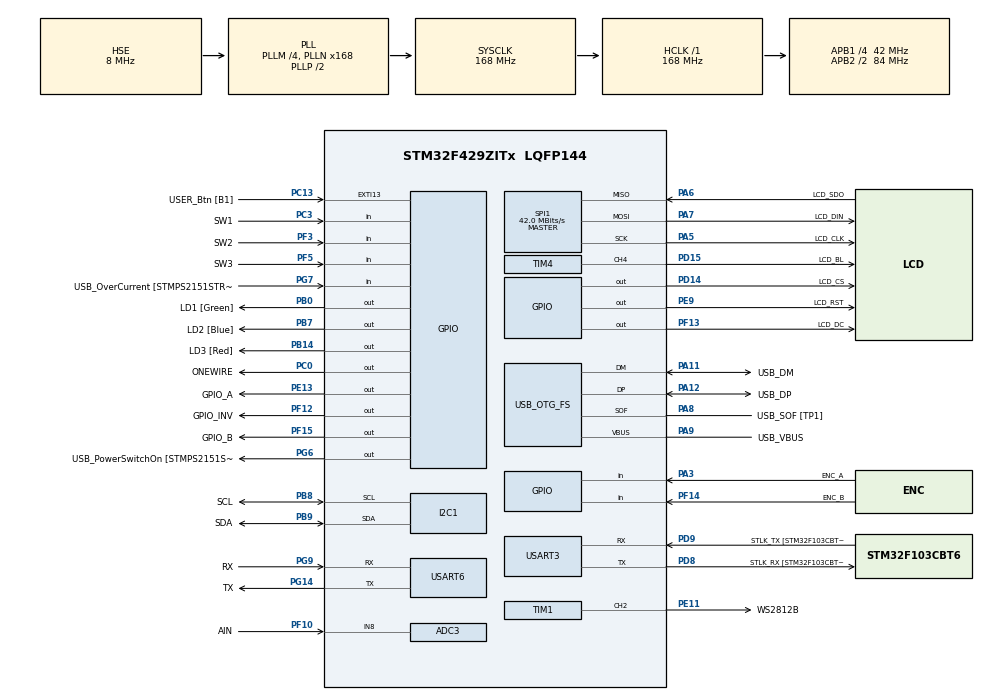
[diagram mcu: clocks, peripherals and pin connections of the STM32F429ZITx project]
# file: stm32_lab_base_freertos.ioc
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ADC3.Channel-0\#ChannelRegularConversion=ADC_CHANNEL_8
ADC3.ClockPrescaler=ADC_CLOCK_SYNC_PCLK_DIV8
ADC3.ContinuousConvMode=ENABLE
ADC3.DMAContinuousRequests=ENABLE
ADC3.DiscontinuousConvMode=DISABLE
ADC3.EOCSelection=ADC_EOC_SINGLE_CONV
ADC3.InjNumberOfConversion=0
ADC3.NbrOfConversion=1
ADC3.NbrOfConversionFlag=1
ADC3.Rank-0\#ChannelRegularConversion=1
ADC3.SamplingTime-0\#ChannelRegularConversion=ADC_SAMPLETIME_3CYCLES
ADC3.ScanConvMode=ENABLE
Dma.ADC3.1.Direction=DMA_PERIPH_TO_MEMORY
Dma.ADC3.1.FIFOMode=DMA_FIFOMODE_DISABLE
Dma.ADC3.1.Instance=DMA2_Stream0
Dma.ADC3.1.MemDataAlignment=DMA_MDATAALIGN_HALFWORD
Dma.ADC3.1.MemInc=DMA_MINC_ENABLE
Dma.ADC3.1.Mode=DMA_NORMAL
Dma.ADC3.1.PeriphDataAlignment=DMA_PDATAALIGN_HALFWORD
Dma.ADC3.1.PeriphInc=DMA_PINC_DISABLE
Dma.ADC3.1.Priority=DMA_PRIORITY_LOW
Dma.Request0=SPI1_TX
Dma.Request1=ADC3
Dma.Request2=TIM1_CH2
Dma.SPI1_TX.0.Direction=DMA_MEMORY_TO_PERIPH
Dma.SPI1_TX.0.FIFOMode=DMA_FIFOMODE_DISABLE
Dma.SPI1_TX.0.Instance=DMA2_Stream3
Dma.SPI1_TX.0.MemDataAlignment=DMA_MDATAALIGN_BYTE
Dma.SPI1_TX.0.MemInc=DMA_MINC_ENABLE
Dma.SPI1_TX.0.Mode=DMA_NORMAL
Dma.SPI1_TX.0.PeriphDataAlignment=DMA_PDATAALIGN_BYTE
Dma.SPI1_TX.0.PeriphInc=DMA_PINC_DISABLE
Dma.SPI1_TX.0.Priority=DMA_PRIORITY_LOW
Dma.TIM1_CH2.2.Direction=DMA_MEMORY_TO_PERIPH
Dma.TIM1_CH2.2.FIFOMode=DMA_FIFOMODE_DISABLE
Dma.TIM1_CH2.2.Instance=DMA2_Stream2
Dma.TIM1_CH2.2.MemDataAlignment=DMA_MDATAALIGN_HALFWORD
Dma.TIM1_CH2.2.MemInc=DMA_MINC_ENABLE
Dma.TIM1_CH2.2.Mode=DMA_NORMAL
Dma.TIM1_CH2.2.PeriphDataAlignment=DMA_PDATAALIGN_HALFWORD
Dma.TIM1_CH2.2.PeriphInc=DMA_PINC_DISABLE
Dma.TIM1_CH2.2.Priority=DMA_PRIORITY_LOW
FREERTOS.INCLUDE_pcTaskGetTaskName=1
FREERTOS.INCLUDE_uxTaskGetStackHighWaterMark2=1
FREERTOS.INCLUDE_xTaskGetHandle=1
FREERTOS.Tasks01=defaultTask,24,1024,StartDefaultTask,Default,NULL,Dynamic,NULL,NULL
FREERTOS.configENABLE_FPU=1
FREERTOS.configTOTAL_HEAP_SIZE=65536
FREERTOS.configUSE_IDLE_HOOK=1
FREERTOS.configUSE_NEWLIB_REENTRANT=1
FREERTOS.configUSE_TICK_HOOK=1
Mcu.Family=STM32F4
Mcu.Name=STM32F429ZITx
Mcu.Package=LQFP144
NVIC.ADC_IRQn=true\:5\:0\:false\:false\:true\:true\:true\:true\:true
NVIC.DMA2_Stream0_IRQn=true\:5\:0\:false\:false\:true\:true\:false\:true\:true
NVIC.DMA2_Stream2_IRQn=true\:5\:0\:false\:false\:true\:true\:false\:true\:true
NVIC.DMA2_Stream3_IRQn=true\:5\:0\:false\:false\:true\:true\:false\:true\:true
NVIC.OTG_FS_IRQn=true\:5\:0\:false\:false\:true\:true\:false\:true\:true
NVIC.PriorityGroup=NVIC_PRIORITYGROUP_4
NVIC.TIM6_DAC_IRQn=true\:15\:0\:false\:false\:true\:false\:false\:true\:true
NVIC.TimeBase=TIM6_DAC_IRQn
NVIC.TimeBaseIP=TIM6
PA1.GPIO_Label=RMII_REF_CLK [LAN8742A-CZ-TR_REFCLK0]
PA1.Signal=ETH_REF_CLK
PA10.GPIO_Label=USB_ID
PA10.Signal=USB_OTG_FS_ID
PA11.GPIO_Label=USB_DM
PA11.Mode=Device_Only
PA11.Signal=USB_OTG_FS_DM
PA12.GPIO_Label=USB_DP
PA12.Mode=Device_Only
PA12.Signal=USB_OTG_FS_DP
PA13.GPIO_Label=TMS
PA13.Mode=Serial_Wire
PA13.Signal=SYS_JTMS-SWDIO
PA14.GPIO_Label=TCK
PA14.Mode=Serial_Wire
PA14.Signal=SYS_JTCK-SWCLK
PA2.GPIO_Label=RMII_MDIO [LAN8742A-CZ-TR_MDIO]
PA2.Signal=ETH_MDIO
PA3.GPIO_Label=ENC_A
PA3.Signal=GPIO_Input
PA5.GPIO_Label=LCD_CLK
PA5.Mode=Full_Duplex_Master
PA5.Signal=SPI1_SCK
PA6.GPIO_Label=LCD_SDO
PA6.Mode=Full_Duplex_Master
PA6.Signal=SPI1_MISO
PA7.GPIO_Label=LCD_DIN
PA7.Mode=Full_Duplex_Master
PA7.Signal=SPI1_MOSI
PA8.GPIO_Label=USB_SOF [TP1]
PA8.Mode=Activate_SOF_FS
PA8.Signal=USB_OTG_FS_SOF
PA9.GPIO_Label=USB_VBUS
PA9.Mode=Activate_VBUS
PA9.Signal=USB_OTG_FS_VBUS
PB0.GPIO_Label=LD1 [Green]
PB0.Signal=GPIO_Output
PB13.GPIO_Label=RMII_TXD1 [LAN8742A-CZ-TR_TXD1]
PB13.Signal=ETH_TXD1
PB14.GPIO_Label=LD3 [Red]
PB14.Signal=GPIO_Output
PB7.GPIO_Label=LD2 [Blue]
PB7.Signal=GPIO_Output
PB8.GPIO_Label=SCL
PB8.Mode=I2C
PB8.Signal=I2C1_SCL
PB9.GPIO_Label=SDA
PB9.Mode=I2C
PB9.Signal=I2C1_SDA
PC0.GPIO_Label=ONEWIRE
PC0.Signal=GPIO_Output
PC1.GPIO_Label=RMII_MDC [LAN8742A-CZ-TR_MDC]
PC1.Signal=ETH_MDC
PC13.GPIO_Label=USER_Btn [B1]
PC13.Signal=GPXTI13
PC14/OSC32_IN.Mode=LSE-External-Oscillator
PC14/OSC32_IN.Signal=RCC_OSC32_IN
PC15/OSC32_OUT.Mode=LSE-External-Oscillator
PC15/OSC32_OUT.Signal=RCC_OSC32_OUT
PC3.GPIO_Label=SW1
PC3.Signal=GPIO_Input
PC4.GPIO_Label=RMII_RXD0 [LAN8742A-CZ-TR_RXD0]
PC4.Signal=ETH_RXD0
PC5.GPIO_Label=RMII_RXD1 [LAN8742A-CZ-TR_RXD1]
PC5.Signal=ETH_RXD1
PD14.GPIO_Label=LCD_CS
PD14.Signal=GPIO_Output
PD15.GPIO_Label=LCD_BL
PD15.Signal=S_TIM4_CH4
PD8.GPIO_Label=STLK_RX [STM32F103CBT6_PA3]
PD8.Mode=Asynchronous
PD8.Signal=USART3_TX
PD9.GPIO_Label=STLK_TX [STM32F103CBT6_PA2]
PD9.Mode=Asynchronous
PD9.Signal=USART3_RX
PE11.GPIO_Label=WS2812B
PE11.Signal=S_TIM1_CH2
PE13.GPIO_Label=GPIO_A
PE13.Signal=GPIO_Output
PE9.GPIO_Label=LCD_RST
PE9.Signal=GPIO_Output
PF10.GPIO_Label=AIN
PF10.Mode=IN8
PF10.Signal=ADC3_IN8
PF12.GPIO_Label=GPIO_INV
PF12.Signal=GPIO_Output
PF13.GPIO_Label=LCD_DC
PF13.Signal=GPIO_Output
PF14.GPIO_Label=ENC_B
PF14.Signal=GPIO_Input
PF15.GPIO_Label=GPIO_B
PF15.Signal=GPIO_Output
PF3.GPIO_Label=SW2
PF3.Signal=GPIO_Input
PF5.GPIO_Label=SW3
PF5.Signal=GPIO_Input
PG11.GPIO_Label=RMII_TX_EN [LAN8742A-CZ-TR_TXEN]
PG11.Signal=ETH_TX_EN
PG13.GPIO_Label=RMII_TXD0 [LAN8742A-CZ-TR_TXD0]
PG13.Signal=ETH_TXD0
PG14.GPIO_Label=TX
PG14.Mode=Asynchronous
PG14.Signal=USART6_TX
PG6.GPIO_Label=USB_PowerSwitchOn [STMPS2151STR_EN]
PG6.Signal=GPIO_Output
PG7.GPIO_Label=USB_OverCurrent [STMPS2151STR_FAULT]
PG7.Signal=GPIO_Input
PG9.GPIO_Label=RX
PG9.Mode=Asynchronous
PG9.Signal=USART6_RX
PH0/OSC_IN.GPIO_Label=MCO [STM32F103CBT6_PA8]
PH0/OSC_IN.Mode=HSE-External-Clock-Source
PH0/OSC_IN.Signal=RCC_OSC_IN
PH1/OSC_OUT.Mode=HSE-External-Clock-Source
PH1/OSC_OUT.Signal=RCC_OSC_OUT
ProjectManager.HeapSize=0x200
ProjectManager.StackSize=0x400
ProjectManager.TargetToolchain=STM32CubeIDE
RCC.48MHZClocksFreq_Value=48000000
RCC.AHBFreq_Value=168000000
RCC.APB1CLKDivider=RCC_HCLK_DIV4
RCC.APB1Freq_Value=42000000
RCC.APB1TimFreq_Value=84000000
RCC.APB2CLKDivider=RCC_HCLK_DIV2
RCC.APB2Freq_Value=84000000
RCC.APB2TimCLKDivider=2
RCC.APB2TimFreq_Value=168000000
RCC.CortexFreq_Value=168000000
RCC.HCLKFreq_Value=168000000
RCC.HSE_VALUE=8000000
RCC.HSI_VALUE=16000000
RCC.PLLM=4
RCC.PLLMUL=RCC_PLL_MUL9
RCC.PLLN=168
RCC.PLLQ=7
RCC.PRESCALERUSB=RCC_USBCLKSOURCE_PLL_DIV1_5
RCC.SYSCLKFreq_VALUE=168000000
RCC.SYSCLKSource=RCC_SYSCLKSOURCE_PLLCLK
RCC.SYSCLKSourceVirtual=RCC_SYSCLKSOURCE_PLLCLK
RCC.USBFreq_Value=48000000
RCC.VCOOutputFreq_Value=336000000
SH.S_TIM1_CH2.0=TIM1_CH2,PWM Generation2 CH2
SH.S_TIM4_CH4.0=TIM4_CH4,PWM Generation4 CH4
SPI1.CalculateBaudRate=42.0 MBits/s
SPI1.Direction=SPI_DIRECTION_2LINES
SPI1.Mode=SPI_MODE_MASTER
SPI1.VirtualType=VM_MASTER
TIM1.Channel-PWM\ Generation2\ CH2=TIM_CHANNEL_2
TIM1.ClockDivision=TIM_CLOCKDIVISION_DIV2
TIM1.Period=209
TIM1.Pulse-PWM\ Generation2\ CH2=50
TIM4.Channel-PWM\ Generation4\ CH4=TIM_CHANNEL_4
TIM4.Period=0xFF
TIM4.Prescaler=10
TIM4.Pulse-PWM\ Generation4\ CH4=0xF0
USART3.VirtualMode=VM_ASYNC
USART6.VirtualMode=VM_ASYNC
USB_DEVICE.CLASS_NAME_FS=CDC
USB_DEVICE.MANUFACTURER_STRING-CDC_FS=Wydzial Informatyki AGH
USB_DEVICE.PRODUCT_STRING_CDC_FS=Mikroprocki Virtual ComPort
USB_DEVICE.USBD_DEBUG_LEVEL-CDC_FS=3
USB_DEVICE.VirtualMode-CDC_FS=Cdc
USB_DEVICE.VirtualModeFS=Cdc_FS
USB_OTG_FS.VirtualMode=Device_Only
VP_FREERTOS_VS_CMSIS_V2.Mode=CMSIS_V2
VP_RNG_VS_RNG.Mode=RNG_Activate
VP_SYS_VS_tim6.Mode=TIM6
VP_TIM1_VS_ClockSourceINT.Mode=Internal
VP_USB_DEVICE_VS_USB_DEVICE_CDC_FS.Mode=CDC_FS
board=NUCLEO-F429ZI

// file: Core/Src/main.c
/* USER CODE BEGIN Header */
/**
  ******************************************************************************
  * @file           : main.c
  * @brief          : Main program body
  ******************************************************************************
  * @attention
  *
  * Copyright (c) 2025 STMicroelectronics.
  * All rights reserved.
  *
  * This software is licensed under terms that can be found in the LICENSE file
  * in the root directory of this software component.
  * If no LICENSE file comes with this software, it is provided AS-IS.
  *
  ******************************************************************************
  */
/* USER CODE END Header */
#include "main.h"
#include "cmsis_os.h"
#include "usb_device.h"

/* USER CODE BEGIN Includes */
#include "FreeRTOS.h"
#include "task.h"
#include "dbgu.h"
#include "usbd_cdc_if.h"
#include "probe.h"
/* USER CODE END Includes */

ADC_HandleTypeDef hadc3;
DMA_HandleTypeDef hdma_adc3;

I2C_HandleTypeDef hi2c1;

RNG_HandleTypeDef hrng;

SPI_HandleTypeDef hspi1;
DMA_HandleTypeDef hdma_spi1_tx;

TIM_HandleTypeDef htim1;
TIM_HandleTypeDef htim4;
DMA_HandleTypeDef hdma_tim1_ch2;

UART_HandleTypeDef huart3;
UART_HandleTypeDef huart6;

/* Definitions for defaultTask */
osThreadId_t defaultTaskHandle;
const osThreadAttr_t defaultTask_attributes = {
  .name = "defaultTask",
  .stack_size = 1024 * 4,
  .priority = (osPriority_t) osPriorityNormal,
};

void SystemClock_Config(void);
static void MX_GPIO_Init(void);
static void MX_DMA_Init(void);
static void MX_TIM1_Init(void);
static void MX_USART3_UART_Init(void);
static void MX_SPI1_Init(void);
static void MX_ADC3_Init(void);
static void MX_USART6_UART_Init(void);
static void MX_I2C1_Init(void);
static void MX_TIM4_Init(void);
static void MX_RNG_Init(void);
void StartDefaultTask(void *argument);

/* USER CODE BEGIN 0 */
extern USBD_HandleTypeDef hUsbDeviceFS;
/* USER CODE END 0 */

int main(void)
{

  /* MCU Configuration--------------------------------------------------------*/

  /* Reset of all peripherals, Initializes the Flash interface and the Systick. */
  HAL_Init();

  /* Configure the system clock */
  SystemClock_Config();

  /* Initialize all configured peripherals */
  MX_GPIO_Init();
  MX_DMA_Init();
  MX_TIM1_Init();
  MX_USART3_UART_Init();
  MX_SPI1_Init();
  MX_ADC3_Init();
  MX_USART6_UART_Init();
  MX_I2C1_Init();
  MX_TIM4_Init();
  MX_RNG_Init();
  /* USER CODE BEGIN 2 */
  debug_init(&huart3);
  printf("It works!\n");
  xprintf("xprintf works too!\n");
  //xprintf("initializing ws leds...\n");
  //ws2812b_init(&htim1,&hdma_tim1_ch2,TIM_CHANNEL_2,8);
  //ws2812b_init(&htim1,&hdma_tim1_ch2,TIM_CHANNEL_2,8);
  /* USER CODE END 2 */

  /* Init scheduler */
  osKernelInitialize();

  /* Create the thread(s) */
  /* creation of defaultTask */
  defaultTaskHandle = osThreadNew(StartDefaultTask, NULL, &defaultTask_attributes);

  /* Start scheduler */
  osKernelStart();

  /* We should never get here as control is now taken by the scheduler */

  /* Infinite loop */
  while (1)
  {

  }
}

void SystemClock_Config(void)
{
  RCC_OscInitTypeDef RCC_OscInitStruct = {0};
  RCC_ClkInitTypeDef RCC_ClkInitStruct = {0};

  /** Configure the main internal regulator output voltage
  */
  __HAL_RCC_PWR_CLK_ENABLE();
  __HAL_PWR_VOLTAGESCALING_CONFIG(PWR_REGULATOR_VOLTAGE_SCALE1);

  /** Initializes the RCC Oscillators according to the specified parameters
  * in the RCC_OscInitTypeDef structure.
  */
  RCC_OscInitStruct.OscillatorType = RCC_OSCILLATORTYPE_HSE;
  RCC_OscInitStruct.HSEState = RCC_HSE_BYPASS;
  RCC_OscInitStruct.PLL.PLLState = RCC_PLL_ON;
  RCC_OscInitStruct.PLL.PLLSource = RCC_PLLSOURCE_HSE;
  RCC_OscInitStruct.PLL.PLLM = 4;
  RCC_OscInitStruct.PLL.PLLN = 168;
  RCC_OscInitStruct.PLL.PLLP = RCC_PLLP_DIV2;
  RCC_OscInitStruct.PLL.PLLQ = 7;
  if (HAL_RCC_OscConfig(&RCC_OscInitStruct) != HAL_OK)
  {
    Error_Handler();
  }

  /** Initializes the CPU, AHB and APB buses clocks
  */
  RCC_ClkInitStruct.ClockType = RCC_CLOCKTYPE_HCLK|RCC_CLOCKTYPE_SYSCLK
                              |RCC_CLOCKTYPE_PCLK1|RCC_CLOCKTYPE_PCLK2;
  RCC_ClkInitStruct.SYSCLKSource = RCC_SYSCLKSOURCE_PLLCLK;
  RCC_ClkInitStruct.AHBCLKDivider = RCC_SYSCLK_DIV1;
  RCC_ClkInitStruct.APB1CLKDivider = RCC_HCLK_DIV4;
  RCC_ClkInitStruct.APB2CLKDivider = RCC_HCLK_DIV2;

  if (HAL_RCC_ClockConfig(&RCC_ClkInitStruct, FLASH_LATENCY_5) != HAL_OK)
  {
    Error_Handler();
  }
}

static void MX_ADC3_Init(void)
{

  ADC_ChannelConfTypeDef sConfig = {0};

  /** Configure the global features of the ADC (Clock, Resolution, Data Alignment and number of conversion)
  */
  hadc3.Instance = ADC3;
  hadc3.Init.ClockPrescaler = ADC_CLOCK_SYNC_PCLK_DIV8;
  hadc3.Init.Resolution = ADC_RESOLUTION_12B;
  hadc3.Init.ScanConvMode = ENABLE;
  hadc3.Init.ContinuousConvMode = ENABLE;
  hadc3.Init.DiscontinuousConvMode = DISABLE;
  hadc3.Init.ExternalTrigConvEdge = ADC_EXTERNALTRIGCONVEDGE_NONE;
  hadc3.Init.ExternalTrigConv = ADC_SOFTWARE_START;
  hadc3.Init.DataAlign = ADC_DATAALIGN_RIGHT;
  hadc3.Init.NbrOfConversion = 1;
  hadc3.Init.DMAContinuousRequests = ENABLE;
  hadc3.Init.EOCSelection = ADC_EOC_SINGLE_CONV;
  if (HAL_ADC_Init(&hadc3) != HAL_OK)
  {
    Error_Handler();
  }

  /** Configure for the selected ADC regular channel its corresponding rank in the sequencer and its sample time.
  */
  sConfig.Channel = ADC_CHANNEL_8;
  sConfig.Rank = 1;
  sConfig.SamplingTime = ADC_SAMPLETIME_3CYCLES;
  if (HAL_ADC_ConfigChannel(&hadc3, &sConfig) != HAL_OK)
  {
    Error_Handler();
  }

}

static void MX_I2C1_Init(void)
{

  hi2c1.Instance = I2C1;
  hi2c1.Init.ClockSpeed = 100000;
  hi2c1.Init.DutyCycle = I2C_DUTYCYCLE_2;
  hi2c1.Init.OwnAddress1 = 0;
  hi2c1.Init.AddressingMode = I2C_ADDRESSINGMODE_7BIT;
  hi2c1.Init.DualAddressMode = I2C_DUALADDRESS_DISABLE;
  hi2c1.Init.OwnAddress2 = 0;
  hi2c1.Init.GeneralCallMode = I2C_GENERALCALL_DISABLE;
  hi2c1.Init.NoStretchMode = I2C_NOSTRETCH_DISABLE;
  if (HAL_I2C_Init(&hi2c1) != HAL_OK)
  {
    Error_Handler();
  }

  /** Configure Analogue filter
  */
  if (HAL_I2CEx_ConfigAnalogFilter(&hi2c1, I2C_ANALOGFILTER_ENABLE) != HAL_OK)
  {
    Error_Handler();
  }

  /** Configure Digital filter
  */
  if (HAL_I2CEx_ConfigDigitalFilter(&hi2c1, 0) != HAL_OK)
  {
    Error_Handler();
  }

}

static void MX_RNG_Init(void)
{

  hrng.Instance = RNG;
  if (HAL_RNG_Init(&hrng) != HAL_OK)
  {
    Error_Handler();
  }

}

static void MX_SPI1_Init(void)
{

  /* SPI1 parameter configuration*/
  hspi1.Instance = SPI1;
  hspi1.Init.Mode = SPI_MODE_MASTER;
  hspi1.Init.Direction = SPI_DIRECTION_2LINES;
  hspi1.Init.DataSize = SPI_DATASIZE_8BIT;
  hspi1.Init.CLKPolarity = SPI_POLARITY_LOW;
  hspi1.Init.CLKPhase = SPI_PHASE_1EDGE;
  hspi1.Init.NSS = SPI_NSS_SOFT;
  hspi1.Init.BaudRatePrescaler = SPI_BAUDRATEPRESCALER_2;
  hspi1.Init.FirstBit = SPI_FIRSTBIT_MSB;
  hspi1.Init.TIMode = SPI_TIMODE_DISABLE;
  hspi1.Init.CRCCalculation = SPI_CRCCALCULATION_DISABLE;
  hspi1.Init.CRCPolynomial = 10;
  if (HAL_SPI_Init(&hspi1) != HAL_OK)
  {
    Error_Handler();
  }

}

static void MX_TIM1_Init(void)
{

  TIM_ClockConfigTypeDef sClockSourceConfig = {0};
  TIM_MasterConfigTypeDef sMasterConfig = {0};
  TIM_OC_InitTypeDef sConfigOC = {0};
  TIM_BreakDeadTimeConfigTypeDef sBreakDeadTimeConfig = {0};

  htim1.Instance = TIM1;
  htim1.Init.Prescaler = 0;
  htim1.Init.CounterMode = TIM_COUNTERMODE_UP;
  htim1.Init.Period = 209;
  htim1.Init.ClockDivision = TIM_CLOCKDIVISION_DIV2;
  htim1.Init.RepetitionCounter = 0;
  htim1.Init.AutoReloadPreload = TIM_AUTORELOAD_PRELOAD_DISABLE;
  if (HAL_TIM_Base_Init(&htim1) != HAL_OK)
  {
    Error_Handler();
  }
  sClockSourceConfig.ClockSource = TIM_CLOCKSOURCE_INTERNAL;
  if (HAL_TIM_ConfigClockSource(&htim1, &sClockSourceConfig) != HAL_OK)
  {
    Error_Handler();
  }
  if (HAL_TIM_PWM_Init(&htim1) != HAL_OK)
  {
    Error_Handler();
  }
  sMasterConfig.MasterOutputTrigger = TIM_TRGO_RESET;
  sMasterConfig.MasterSlaveMode = TIM_MASTERSLAVEMODE_DISABLE;
  if (HAL_TIMEx_MasterConfigSynchronization(&htim1, &sMasterConfig) != HAL_OK)
  {
    Error_Handler();
  }
  sConfigOC.OCMode = TIM_OCMODE_PWM1;
  sConfigOC.Pulse = 50;
  sConfigOC.OCPolarity = TIM_OCPOLARITY_HIGH;
  sConfigOC.OCNPolarity = TIM_OCNPOLARITY_HIGH;
  sConfigOC.OCFastMode = TIM_OCFAST_DISABLE;
  sConfigOC.OCIdleState = TIM_OCIDLESTATE_RESET;
  sConfigOC.OCNIdleState = TIM_OCNIDLESTATE_RESET;
  if (HAL_TIM_PWM_ConfigChannel(&htim1, &sConfigOC, TIM_CHANNEL_2) != HAL_OK)
  {
    Error_Handler();
  }
  sBreakDeadTimeConfig.OffStateRunMode = TIM_OSSR_DISABLE;
  sBreakDeadTimeConfig.OffStateIDLEMode = TIM_OSSI_DISABLE;
  sBreakDeadTimeConfig.LockLevel = TIM_LOCKLEVEL_OFF;
  sBreakDeadTimeConfig.DeadTime = 0;
  sBreakDeadTimeConfig.BreakState = TIM_BREAK_DISABLE;
  sBreakDeadTimeConfig.BreakPolarity = TIM_BREAKPOLARITY_HIGH;
  sBreakDeadTimeConfig.AutomaticOutput = TIM_AUTOMATICOUTPUT_DISABLE;
  if (HAL_TIMEx_ConfigBreakDeadTime(&htim1, &sBreakDeadTimeConfig) != HAL_OK)
  {
    Error_Handler();
  }
  HAL_TIM_MspPostInit(&htim1);

}

static void MX_TIM4_Init(void)
{

  TIM_MasterConfigTypeDef sMasterConfig = {0};
  TIM_OC_InitTypeDef sConfigOC = {0};

  htim4.Instance = TIM4;
  htim4.Init.Prescaler = 10;
  htim4.Init.CounterMode = TIM_COUNTERMODE_UP;
  htim4.Init.Period = 0xFF;
  htim4.Init.ClockDivision = TIM_CLOCKDIVISION_DIV1;
  htim4.Init.AutoReloadPreload = TIM_AUTORELOAD_PRELOAD_DISABLE;
  if (HAL_TIM_PWM_Init(&htim4) != HAL_OK)
  {
    Error_Handler();
  }
  sMasterConfig.MasterOutputTrigger = TIM_TRGO_RESET;
  sMasterConfig.MasterSlaveMode = TIM_MASTERSLAVEMODE_DISABLE;
  if (HAL_TIMEx_MasterConfigSynchronization(&htim4, &sMasterConfig) != HAL_OK)
  {
    Error_Handler();
  }
  sConfigOC.OCMode = TIM_OCMODE_PWM1;
  sConfigOC.Pulse = 0xF0;
  sConfigOC.OCPolarity = TIM_OCPOLARITY_HIGH;
  sConfigOC.OCFastMode = TIM_OCFAST_DISABLE;
  if (HAL_TIM_PWM_ConfigChannel(&htim4, &sConfigOC, TIM_CHANNEL_4) != HAL_OK)
  {
    Error_Handler();
  }
  HAL_TIM_MspPostInit(&htim4);

}

static void MX_USART3_UART_Init(void)
{

  huart3.Instance = USART3;
  huart3.Init.BaudRate = 115200;
  huart3.Init.WordLength = UART_WORDLENGTH_8B;
  huart3.Init.StopBits = UART_STOPBITS_1;
  huart3.Init.Parity = UART_PARITY_NONE;
  huart3.Init.Mode = UART_MODE_TX_RX;
  huart3.Init.HwFlowCtl = UART_HWCONTROL_NONE;
  huart3.Init.OverSampling = UART_OVERSAMPLING_16;
  if (HAL_UART_Init(&huart3) != HAL_OK)
  {
    Error_Handler();
  }

}

static void MX_USART6_UART_Init(void)
{

  huart6.Instance = USART6;
  huart6.Init.BaudRate = 115200;
  huart6.Init.WordLength = UART_WORDLENGTH_8B;
  huart6.Init.StopBits = UART_STOPBITS_1;
  huart6.Init.Parity = UART_PARITY_NONE;
  huart6.Init.Mode = UART_MODE_TX_RX;
  huart6.Init.HwFlowCtl = UART_HWCONTROL_NONE;
  huart6.Init.OverSampling = UART_OVERSAMPLING_16;
  if (HAL_UART_Init(&huart6) != HAL_OK)
  {
    Error_Handler();
  }

}

static void MX_DMA_Init(void)
{

  /* DMA controller clock enable */
  __HAL_RCC_DMA2_CLK_ENABLE();

  /* DMA interrupt init */
  /* DMA2_Stream0_IRQn interrupt configuration */
  HAL_NVIC_SetPriority(DMA2_Stream0_IRQn, 5, 0);
  HAL_NVIC_EnableIRQ(DMA2_Stream0_IRQn);
  /* DMA2_Stream2_IRQn interrupt configuration */
  HAL_NVIC_SetPriority(DMA2_Stream2_IRQn, 5, 0);
  HAL_NVIC_EnableIRQ(DMA2_Stream2_IRQn);
  /* DMA2_Stream3_IRQn interrupt configuration */
  HAL_NVIC_SetPriority(DMA2_Stream3_IRQn, 5, 0);
  HAL_NVIC_EnableIRQ(DMA2_Stream3_IRQn);

}

static void MX_GPIO_Init(void)
{
  GPIO_InitTypeDef GPIO_InitStruct = {0};

  /* GPIO Ports Clock Enable */
  __HAL_RCC_GPIOC_CLK_ENABLE();
  __HAL_RCC_GPIOF_CLK_ENABLE();
  __HAL_RCC_GPIOH_CLK_ENABLE();
  __HAL_RCC_GPIOA_CLK_ENABLE();
  __HAL_RCC_GPIOB_CLK_ENABLE();
  __HAL_RCC_GPIOE_CLK_ENABLE();
  __HAL_RCC_GPIOD_CLK_ENABLE();
  __HAL_RCC_GPIOG_CLK_ENABLE();

  /*Configure GPIO pin Output Level */
  HAL_GPIO_WritePin(ONEWIRE_GPIO_Port, ONEWIRE_Pin, GPIO_PIN_RESET);

  /*Configure GPIO pin Output Level */
  HAL_GPIO_WritePin(GPIOB, LD1_Pin|LD3_Pin|LD2_Pin, GPIO_PIN_RESET);

  /*Configure GPIO pin Output Level */
  HAL_GPIO_WritePin(GPIOF, GPIO_INV_Pin|LCD_DC_Pin|GPIO_B_Pin, GPIO_PIN_RESET);

  /*Configure GPIO pin Output Level */
  HAL_GPIO_WritePin(GPIOE, LCD_RST_Pin|GPIO_A_Pin, GPIO_PIN_RESET);

  /*Configure GPIO pin Output Level */
  HAL_GPIO_WritePin(LCD_CS_GPIO_Port, LCD_CS_Pin, GPIO_PIN_RESET);

  /*Configure GPIO pin Output Level */
  HAL_GPIO_WritePin(USB_PowerSwitchOn_GPIO_Port, USB_PowerSwitchOn_Pin, GPIO_PIN_RESET);

  /*Configure GPIO pin : USER_Btn_Pin */
  GPIO_InitStruct.Pin = USER_Btn_Pin;
  GPIO_InitStruct.Mode = GPIO_MODE_IT_RISING;
  GPIO_InitStruct.Pull = GPIO_NOPULL;
  HAL_GPIO_Init(USER_Btn_GPIO_Port, &GPIO_InitStruct);

  /*Configure GPIO pins : SW2_Pin SW3_Pin ENC_B_Pin */
  GPIO_InitStruct.Pin = SW2_Pin|SW3_Pin|ENC_B_Pin;
  GPIO_InitStruct.Mode = GPIO_MODE_INPUT;
  GPIO_InitStruct.Pull = GPIO_NOPULL;
  HAL_GPIO_Init(GPIOF, &GPIO_InitStruct);

  /*Configure GPIO pin : ONEWIRE_Pin */
  GPIO_InitStruct.Pin = ONEWIRE_Pin;
  GPIO_InitStruct.Mode = GPIO_MODE_OUTPUT_PP;
  GPIO_InitStruct.Pull = GPIO_NOPULL;
  GPIO_InitStruct.Speed = GPIO_SPEED_FREQ_LOW;
  HAL_GPIO_Init(ONEWIRE_GPIO_Port, &GPIO_InitStruct);

  /*Configure GPIO pins : RMII_MDC_Pin RMII_RXD0_Pin RMII_RXD1_Pin */
  GPIO_InitStruct.Pin = RMII_MDC_Pin|RMII_RXD0_Pin|RMII_RXD1_Pin;
  GPIO_InitStruct.Mode = GPIO_MODE_AF_PP;
  GPIO_InitStruct.Pull = GPIO_NOPULL;
  GPIO_InitStruct.Speed = GPIO_SPEED_FREQ_VERY_HIGH;
  GPIO_InitStruct.Alternate = GPIO_AF11_ETH;
  HAL_GPIO_Init(GPIOC, &GPIO_InitStruct);

  /*Configure GPIO pin : SW1_Pin */
  GPIO_InitStruct.Pin = SW1_Pin;
  GPIO_InitStruct.Mode = GPIO_MODE_INPUT;
  GPIO_InitStruct.Pull = GPIO_NOPULL;
  HAL_GPIO_Init(SW1_GPIO_Port, &GPIO_InitStruct);

  /*Configure GPIO pins : RMII_REF_CLK_Pin RMII_MDIO_Pin */
  GPIO_InitStruct.Pin = RMII_REF_CLK_Pin|RMII_MDIO_Pin;
  GPIO_InitStruct.Mode = GPIO_MODE_AF_PP;
  GPIO_InitStruct.Pull = GPIO_NOPULL;
  GPIO_InitStruct.Speed = GPIO_SPEED_FREQ_VERY_HIGH;
  GPIO_InitStruct.Alternate = GPIO_AF11_ETH;
  HAL_GPIO_Init(GPIOA, &GPIO_InitStruct);

  /*Configure GPIO pin : ENC_A_Pin */
  GPIO_InitStruct.Pin = ENC_A_Pin;
  GPIO_InitStruct.Mode = GPIO_MODE_INPUT;
  GPIO_InitStruct.Pull = GPIO_NOPULL;
  HAL_GPIO_Init(ENC_A_GPIO_Port, &GPIO_InitStruct);

  /*Configure GPIO pins : LD1_Pin LD3_Pin LD2_Pin */
  GPIO_InitStruct.Pin = LD1_Pin|LD3_Pin|LD2_Pin;
  GPIO_InitStruct.Mode = GPIO_MODE_OUTPUT_PP;
  GPIO_InitStruct.Pull = GPIO_NOPULL;
  GPIO_InitStruct.Speed = GPIO_SPEED_FREQ_LOW;
  HAL_GPIO_Init(GPIOB, &GPIO_InitStruct);

  /*Configure GPIO pins : GPIO_INV_Pin LCD_DC_Pin GPIO_B_Pin */
  GPIO_InitStruct.Pin = GPIO_INV_Pin|LCD_DC_Pin|GPIO_B_Pin;
  GPIO_InitStruct.Mode = GPIO_MODE_OUTPUT_PP;
  GPIO_InitStruct.Pull = GPIO_NOPULL;
  GPIO_InitStruct.Speed = GPIO_SPEED_FREQ_LOW;
  HAL_GPIO_Init(GPIOF, &GPIO_InitStruct);

  /*Configure GPIO pins : LCD_RST_Pin GPIO_A_Pin */
  GPIO_InitStruct.Pin = LCD_RST_Pin|GPIO_A_Pin;
  GPIO_InitStruct.Mode = GPIO_MODE_OUTPUT_PP;
  GPIO_InitStruct.Pull = GPIO_NOPULL;
  GPIO_InitStruct.Speed = GPIO_SPEED_FREQ_LOW;
  HAL_GPIO_Init(GPIOE, &GPIO_InitStruct);

  /*Configure GPIO pin : RMII_TXD1_Pin */
  GPIO_InitStruct.Pin = RMII_TXD1_Pin;
  GPIO_InitStruct.Mode = GPIO_MODE_AF_PP;
  GPIO_InitStruct.Pull = GPIO_NOPULL;
  GPIO_InitStruct.Speed = GPIO_SPEED_FREQ_VERY_HIGH;
  GPIO_InitStruct.Alternate = GPIO_AF11_ETH;
  HAL_GPIO_Init(RMII_TXD1_GPIO_Port, &GPIO_InitStruct);

  /*Configure GPIO pin : LCD_CS_Pin */
  GPIO_InitStruct.Pin = LCD_CS_Pin;
  GPIO_InitStruct.Mode = GPIO_MODE_OUTPUT_PP;
  GPIO_InitStruct.Pull = GPIO_NOPULL;
  GPIO_InitStruct.Speed = GPIO_SPEED_FREQ_LOW;
  HAL_GPIO_Init(LCD_CS_GPIO_Port, &GPIO_InitStruct);

  /*Configure GPIO pin : USB_PowerSwitchOn_Pin */
  GPIO_InitStruct.Pin = USB_PowerSwitchOn_Pin;
  GPIO_InitStruct.Mode = GPIO_MODE_OUTPUT_PP;
  GPIO_InitStruct.Pull = GPIO_NOPULL;
  GPIO_InitStruct.Speed = GPIO_SPEED_FREQ_LOW;
  HAL_GPIO_Init(USB_PowerSwitchOn_GPIO_Port, &GPIO_InitStruct);

  /*Configure GPIO pin : USB_OverCurrent_Pin */
  GPIO_InitStruct.Pin = USB_OverCurrent_Pin;
  GPIO_InitStruct.Mode = GPIO_MODE_INPUT;
  GPIO_InitStruct.Pull = GPIO_NOPULL;
  HAL_GPIO_Init(USB_OverCurrent_GPIO_Port, &GPIO_InitStruct);

  /*Configure GPIO pins : RMII_TX_EN_Pin RMII_TXD0_Pin */
  GPIO_InitStruct.Pin = RMII_TX_EN_Pin|RMII_TXD0_Pin;
  GPIO_InitStruct.Mode = GPIO_MODE_AF_PP;
  GPIO_InitStruct.Pull = GPIO_NOPULL;
  GPIO_InitStruct.Speed = GPIO_SPEED_FREQ_VERY_HIGH;
  GPIO_InitStruct.Alternate = GPIO_AF11_ETH;
  HAL_GPIO_Init(GPIOG, &GPIO_InitStruct);

}

/* USER CODE BEGIN 4 */

#define CDC_RX_BUF_SIZE		10
uint8_t cdc_rx_buf[CDC_RX_BUF_SIZE];

void cdc_tx_complete_cb(void){

}

void cdc_rxed_cb(uint8_t* buf, uint16_t len){
  xprintf("cdc_rxed_cb: rxed char: %c = 0x%02X\n",buf[0],buf[0]);
}

void cdc_start_rx(){
	USBD_CDC_ReceivePacket(&hUsbDeviceFS);
}

void cdc_transmit(uint8_t* buf, uint16_t len){
	CDC_Transmit_FS(buf,len);
}

void cdc_chr(uint8_t chr){
	cdc_transmit(&chr,1);
}

void terminal_iface(void){
	uint8_t key = inkey();
	if(key > 0){
	  xprintf("odebrano znak\n");
    switch(key){
    case ' ':
      xprintf("space pressed!\n");
      break;
    case 't':
      cdc_transmit((uint8_t*)"abc ", 4);
      break;
    }
	}
}

/* USER CODE END 4 */

void StartDefaultTask(void *argument)
{
  /* init code for USB_DEVICE */
  MX_USB_DEVICE_Init();
  /* USER CODE BEGIN 5 */
  //cdc_start_rx(); //uncomment if necessary (USB Serial comm.)
  probe_output_init();

  vTaskSetTaskNumber(xTaskGetIdleTaskHandle(), 0);

  /* Infinite loop */
  for(;;)
  {
    LD3_TOGGLE;
    vTaskDelay(50);
    //terminal_iface(); //uncomment if necessary
  }
  /* USER CODE END 5 */
}

void HAL_TIM_PeriodElapsedCallback(TIM_HandleTypeDef *htim)
{
  if (htim->Instance == TIM6)
  {
    HAL_IncTick();
  }
}

void Error_Handler(void)
{
  __disable_irq();
  while (1)
  {
  }
}

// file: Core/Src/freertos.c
/* USER CODE BEGIN Header */
/**
  ******************************************************************************
  * File Name          : freertos.c
  * Description        : Code for freertos applications
  ******************************************************************************
  * @attention
  *
  * Copyright (c) 2025 STMicroelectronics.
  * All rights reserved.
  *
  * This software is licensed under terms that can be found in the LICENSE file
  * in the root directory of this software component.
  * If no LICENSE file comes with this software, it is provided AS-IS.
  *
  ******************************************************************************
  */
/* USER CODE END Header */

#include "FreeRTOS.h"
#include "task.h"
#include "main.h"

/* Hook prototypes */
void vApplicationIdleHook(void);
void vApplicationTickHook(void);

/* USER CODE BEGIN 2 */
void vApplicationIdleHook( void )
{
   /* vApplicationIdleHook() will only be called if configUSE_IDLE_HOOK is set
   to 1 in FreeRTOSConfig.h. It will be called on each iteration of the idle
   task. It is essential that code added to this hook function never attempts
   to block in any way (for example, call xQueueReceive() with a block time
   specified, or call vTaskDelay()). If the application makes use of the
   vTaskDelete() API function (as this demo application does) then it is also
   important that vApplicationIdleHook() is permitted to return to its calling
   function, because it is the responsibility of the idle task to clean up
   memory allocated by the kernel to any task that has since been deleted. */
}
/* USER CODE END 2 */

/* USER CODE BEGIN 3 */
void vApplicationTickHook( void )
{
   /* This function will be called by each tick interrupt if
   configUSE_TICK_HOOK is set to 1 in FreeRTOSConfig.h. User code can be
   added here, but the tick hook is called from an interrupt context, so
   code must not attempt to block, and only the interrupt safe FreeRTOS API
   functions can be used (those that end in FromISR()). */
}
/* USER CODE END 3 */
